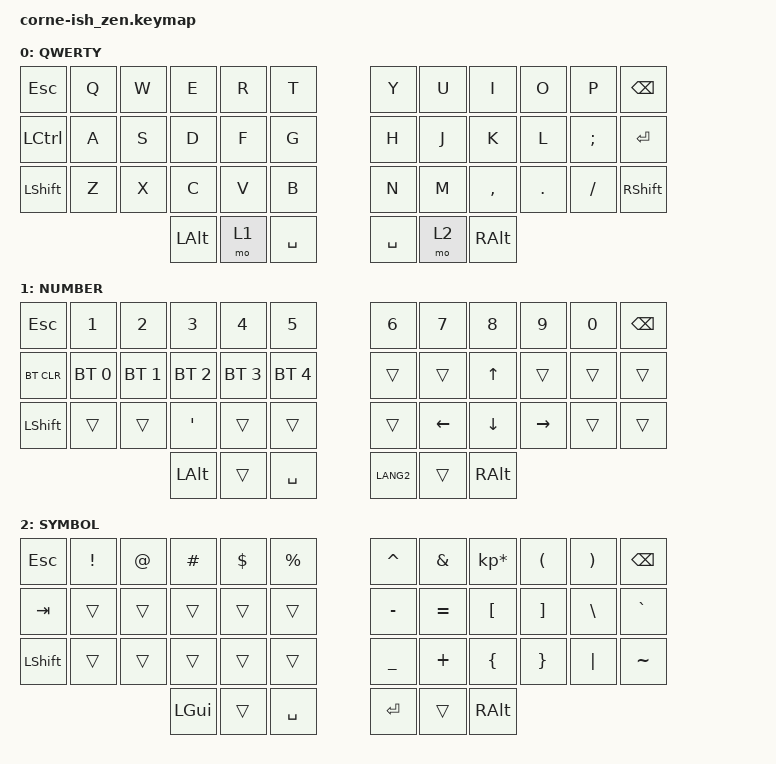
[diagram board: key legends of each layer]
/*
*
* Copyright (c) 2021 Darryl deHaan
* SPDX-License-Identifier: MIT
*
*/

#include <behaviors.dtsi>
#include <dt-bindings/zmk/keys.h>
#include <dt-bindings/zmk/bt.h>

/ {
        keymap {
                compatible = "zmk,keymap";

                default_layer {
                        label = "QWERTY";
// -----------------------------------------------------------------------------------------
// | ESC  |  Q  |  W  |  E  |  R  |  T  |   |  Y  |  U   |  I  |  O  |  P  | BKSP |
// | CTRL |  A  |  S  |  D  |  F  |  G  |   |  H  |  J   |  K  |  L  |  ;  |  ENT |
// | SHFT |  Z  |  X  |  C  |  V  |  B  |   |  N  |  M   |  ,  |  .  |  /  | RSHFT|
//                    | ALT | LWR | SPC |   | SPC | RSE  | ALT |
                        bindings = <
   &kp ESC   &kp Q &kp W &kp E &kp R &kp T   &kp Y &kp U  &kp I     &kp O   &kp P    &kp BSPC
   &kp LCTRL &kp A &kp S &kp D &kp F &kp G   &kp H &kp J  &kp K     &kp L   &kp SEMI &kp ENTER
   &kp LSHFT &kp Z &kp X &kp C &kp V &kp B   &kp N &kp M  &kp COMMA &kp DOT &kp FSLH &kp RSHFT
                  &kp LALT &mo 1 &kp SPACE   &kp SPACE &mo 2 &kp RALT
                        >;
                };
                lower_layer {
                        label = "NUMBER";
// -----------------------------------------------------------------------------------------
// |  ESC |  1  |  2  |  3  |  4  |  5  |   |  6  |  7  |  8  |  9  |  0  | BKSP |
// |BT_CLR| BT1 | BT2 | BT3 | BT4 | BT5 |   |     |     |  UP |     |     |  ENT |
// | SHFT |     |     |  '  |     |     |   |     | LFT | DWN | RGT |     |      |
//                    | ALT |     | SPC |   | ENT |     | ALT |
                        bindings = <
   &kp ESC    &kp N1       &kp N2       &kp N3       &kp N4       &kp N5         &kp N6      &kp N7    &kp N8    &kp N9      &kp N0  &kp BSPC
   &bt BT_CLR &bt BT_SEL 0 &bt BT_SEL 1 &bt BT_SEL 2 &bt BT_SEL 3 &bt BT_SEL 4   &trans      &trans    &kp UP    &trans      &trans  &trans
   &kp LSHFT  &trans       &trans       &kp SQT      &trans       &trans         &trans      &kp LEFT  &kp DOWN  &kp RIGHT   &trans  &trans
                          	        &kp LALT     &trans       &kp SPACE      &kp LANG2   &trans    &kp RALT
                        >;
                };

                raise_layer {
                        label = "SYMBOL";
// -----------------------------------------------------------------------------------------
// |  ESC |  !  |  @  |  #  |  $  |  %  |   |  ^  |  &  |  *  |  (  |  )  | BKSP |
// | CTRL |     |     |     |     |     |   |  -  |  =  |  [  |  ]  |  \  |  `   |
// | SHFT |     |     |     |     |     |   |  _  |  +  |  {  |  }  | "|" |  ~   |
//                    | GUI |     | SPC |   | ENT |     | ALT |
                        bindings = <
   &kp ESC  &kp EXCL &kp AT &kp HASH &kp DLLR &kp PRCNT   &kp CARET &kp AMPS  &kp KP_MULTIPLY &kp LPAR &kp RPAR &kp BSPC
   &kp TAB &trans   &trans &trans   &trans   &trans      &kp MINUS &kp EQUAL &kp LBKT        &kp RBKT &kp BSLH &kp GRAVE
   &kp LSHFT &trans   &trans &trans   &trans   &trans      &kp UNDER &kp PLUS  &kp LBRC        &kp RBRC &kp PIPE &kp TILDE
                    	     &kp LGUI &trans   &kp SPACE   &kp RET   &trans    &kp RALT
                        >;
                };
        };
};
